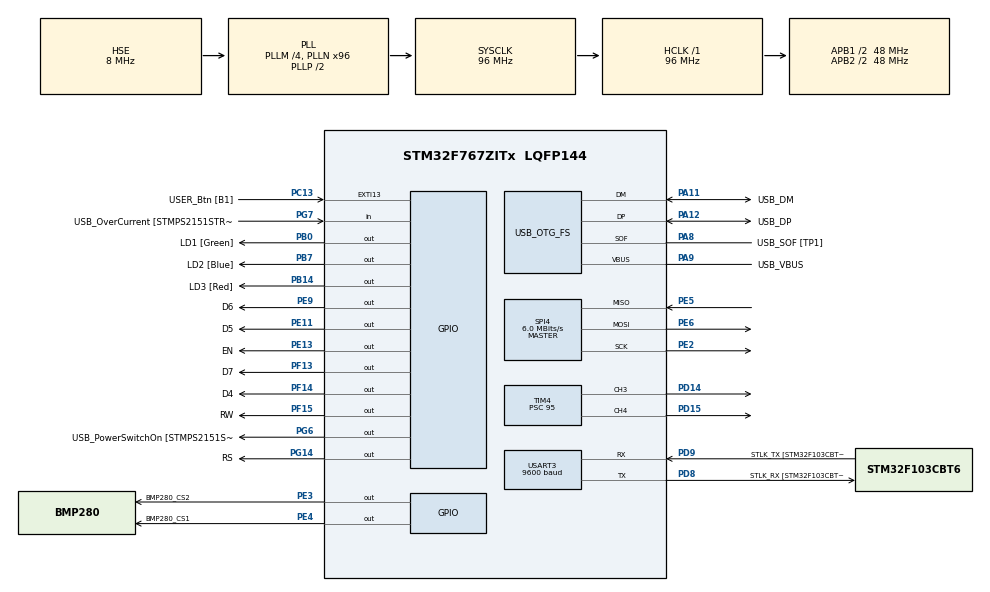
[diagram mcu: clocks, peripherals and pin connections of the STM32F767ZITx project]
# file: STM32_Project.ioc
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ARM.CMSIS.5.7.0.CMSISJjCORE=true
ARM.CMSIS.5.7.0.CMSISJjDSP=Library
Mcu.Family=STM32F7
Mcu.Name=STM32F767ZITx
Mcu.Package=LQFP144
NVIC.PriorityGroup=NVIC_PRIORITYGROUP_4
NVIC.USART3_IRQn=true\:0\:0\:false\:false\:true\:true\:true
PA10.GPIO_Label=USB_ID
PA10.Signal=USB_OTG_FS_ID
PA11.GPIO_Label=USB_DM
PA11.Mode=Device_Only
PA11.Signal=USB_OTG_FS_DM
PA12.GPIO_Label=USB_DP
PA12.Mode=Device_Only
PA12.Signal=USB_OTG_FS_DP
PA13.GPIO_Label=TMS
PA13.Mode=Serial_Wire
PA13.Signal=SYS_JTMS-SWDIO
PA14.GPIO_Label=TCK
PA14.Mode=Serial_Wire
PA14.Signal=SYS_JTCK-SWCLK
PA8.GPIO_Label=USB_SOF [TP1]
PA8.Mode=Activate_SOF_FS
PA8.Signal=USB_OTG_FS_SOF
PA9.GPIO_Label=USB_VBUS
PA9.Mode=Activate_VBUS
PA9.Signal=USB_OTG_FS_VBUS
PB0.GPIO_Label=LD1 [Green]
PB0.Signal=GPIO_Output
PB13.GPIO_Label=RMII_TXD1 [LAN8742A-CZ-TR_TXD1]
PB13.Signal=ETH_TXD1
PB14.GPIO_Label=LD3 [Red]
PB14.Signal=GPIO_Output
PB3.GPIO_Label=SWO
PB3.Signal=SYS_JTDO-SWO
PB7.GPIO_Label=LD2 [Blue]
PB7.Signal=GPIO_Output
PC1.GPIO_Label=RMII_MDC [LAN8742A-CZ-TR_MDC]
PC1.Signal=ETH_MDC
PC13.GPIO_Label=USER_Btn [B1]
PC13.Signal=GPXTI13
PC14/OSC32_IN.Mode=LSE-External-Oscillator
PC14/OSC32_IN.Signal=RCC_OSC32_IN
PC15/OSC32_OUT.Mode=LSE-External-Oscillator
PC15/OSC32_OUT.Signal=RCC_OSC32_OUT
PD14.Signal=S_TIM4_CH3
PD15.Signal=S_TIM4_CH4
PD8.GPIO_Label=STLK_RX [STM32F103CBT6_PA3]
PD8.Mode=Asynchronous
PD8.Signal=USART3_TX
PD9.GPIO_Label=STLK_TX [STM32F103CBT6_PA2]
PD9.Mode=Asynchronous
PD9.Signal=USART3_RX
PE11.GPIO_Label=D5
PE11.Signal=GPIO_Output
PE13.GPIO_Label=EN
PE13.Signal=GPIO_Output
PE2.Mode=Full_Duplex_Master
PE2.Signal=SPI4_SCK
PE3.GPIO_Label=BMP280_CS2
PE3.Signal=GPIO_Output
PE4.GPIO_Label=BMP280_CS1
PE4.Signal=GPIO_Output
PE5.Mode=Full_Duplex_Master
PE5.Signal=SPI4_MISO
PE6.Mode=Full_Duplex_Master
PE6.Signal=SPI4_MOSI
PE9.GPIO_Label=D6
PE9.Signal=GPIO_Output
PF13.GPIO_Label=D7
PF13.Signal=GPIO_Output
PF14.GPIO_Label=D4
PF14.GPIO_Speed=GPIO_SPEED_FREQ_MEDIUM
PF14.Signal=GPIO_Output
PF15.GPIO_Label=RW
PF15.Signal=GPIO_Output
PG11.GPIO_Label=RMII_TX_EN [LAN8742A-CZ-TR_TXEN]
PG11.Signal=ETH_TX_EN
PG13.GPIO_Label=RMII_TXD0 [LAN8742A-CZ-TR_TXD0]
PG13.Signal=ETH_TXD0
PG14.GPIO_Label=RS
PG14.Signal=GPIO_Output
PG6.GPIO_Label=USB_PowerSwitchOn [STMPS2151STR_EN]
PG6.Signal=GPIO_Output
PG7.GPIO_Label=USB_OverCurrent [STMPS2151STR_FAULT]
PG7.Signal=GPIO_Input
PH0/OSC_IN.GPIO_Label=MCO [STM32F103CBT6_PA8]
PH0/OSC_IN.Mode=HSE-External-Clock-Source
PH0/OSC_IN.Signal=RCC_OSC_IN
PH1/OSC_OUT.Mode=HSE-External-Clock-Source
PH1/OSC_OUT.Signal=RCC_OSC_OUT
ProjectManager.HeapSize=0x200
ProjectManager.StackSize=0x400
ProjectManager.TargetToolchain=STM32CubeIDE
RCC.48MHZClocksFreq_Value=24000000
RCC.AHBFreq_Value=96000000
RCC.APB1CLKDivider=RCC_HCLK_DIV2
RCC.APB1Freq_Value=48000000
RCC.APB1TimFreq_Value=96000000
RCC.APB2CLKDivider=RCC_HCLK_DIV2
RCC.APB2Freq_Value=48000000
RCC.APB2TimFreq_Value=96000000
RCC.CortexFreq_Value=96000000
RCC.HCLKFreq_Value=96000000
RCC.HSE_VALUE=8000000
RCC.HSI_VALUE=16000000
RCC.PLLM=4
RCC.PLLMUL=RCC_PLL_MUL9
RCC.PLLN=96
RCC.PLLQ=4
RCC.PRESCALERUSB=RCC_USBCLKSOURCE_PLL_DIV1_5
RCC.SYSCLKFreq_VALUE=96000000
RCC.SYSCLKSource=RCC_SYSCLKSOURCE_PLLCLK
RCC.SYSCLKSourceVirtual=RCC_SYSCLKSOURCE_PLLCLK
RCC.USBFreq_Value=48000000
RCC.VCOOutputFreq_Value=192000000
SH.S_TIM4_CH3.0=TIM4_CH3,PWM Generation3 CH3
SH.S_TIM4_CH4.0=TIM4_CH4,PWM Generation4 CH4
SPI4.BaudRatePrescaler=SPI_BAUDRATEPRESCALER_8
SPI4.CLKPhase=SPI_PHASE_2EDGE
SPI4.CLKPolarity=SPI_POLARITY_HIGH
SPI4.CalculateBaudRate=6.0 MBits/s
SPI4.DataSize=SPI_DATASIZE_8BIT
SPI4.Direction=SPI_DIRECTION_2LINES
SPI4.Mode=SPI_MODE_MASTER
SPI4.VirtualType=VM_MASTER
TIM3.Period=65534
TIM3.Prescaler=95
TIM4.Channel-PWM\ Generation3\ CH3=TIM_CHANNEL_3
TIM4.Channel-PWM\ Generation4\ CH4=TIM_CHANNEL_4
TIM4.OCPolarity_3=TIM_OCPOLARITY_LOW
TIM4.Period=999
TIM4.Prescaler=95
TIM4.Pulse-PWM\ Generation3\ CH3=500
USART3.BaudRate=9600
USART3.VirtualMode-Asynchronous=VM_ASYNC
USB_OTG_FS.VirtualMode=Device_Only
VP_ARM.CMSIS_VS_CMSISJjCORE_5.4.0_5.7.0.Mode=CMSISJjCORE
VP_ARM.CMSIS_VS_CMSISJjDSP_1.8.0_5.7.0.Mode=CMSISJjDSP
VP_TIM3_VS_ClockSourceINT.Mode=Internal
VP_TIM4_VS_ClockSourceINT.Mode=Internal
board=NUCLEO-F767ZI

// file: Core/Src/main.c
/* USER CODE BEGIN Header */
/**
  ******************************************************************************
  * @file           : main.c
  * @brief          : Main program body
  ******************************************************************************
  * @attention
  *
  * <h2><center>&copy; Copyright (c) 2022 STMicroelectronics.
  * All rights reserved.</center></h2>
  *
  * This software component is licensed by ST under BSD 3-Clause license,
  * the "License"; You may not use this file except in compliance with the
  * License. You may obtain a copy of the License at:
  *                        opensource.org/licenses/BSD-3-Clause
  *
  ******************************************************************************
  */
/* USER CODE END Header */
#include "main.h"

/* USER CODE BEGIN Includes */
#include "LCD1602.h"
#include "bmp2_config.h"
#include "bmp280_config.h"
#include <math.h>
#include "arm_math.h"
#include "math_helper.h"
#include "common.h"
/* USER CODE END Includes */

SPI_HandleTypeDef hspi4;

TIM_HandleTypeDef htim3;
TIM_HandleTypeDef htim4;

UART_HandleTypeDef huart3;

PCD_HandleTypeDef hpcd_USB_OTG_FS;

/* USER CODE BEGIN PV */
int row =0;
int col=0;
float stemp=25.0;
float prev_stemp =0;
char buffer[17];

char buffer1[17];
float a_temp[3] = {25.76, 24.75,32.67};
float printed;
int i=0;
float temp;
int diff_index=0;
int n;
char data_msg[32];

float32_t control_signal =0;
float32_t lin_con_sig =0;
float32_t diff_temp=0;

void Steering__temp (float duty_cycle){
	if (duty_cycle >=0){
		if (duty_cycle >60){
			duty_cycle = 60;
		}
		if (duty_cycle <0){
					duty_cycle = 0;
				}

		__HAL_TIM_SET_COMPARE(&htim4, TIM_CHANNEL_3, duty_cycle*10.0);
	}
}

void Steering_fan (int duty_cycle){
	__HAL_TIM_SET_COMPARE(&htim4, TIM_CHANNEL_4, duty_cycle*10);
}

char received_message[5]="";
void HAL_UART_RxCpltCallback (UART_HandleTypeDef * huart)
{

HAL_UART_Receive_IT(&huart3, (uint8_t*)received_message, 5);
sscanf(received_message, "%f", &stemp);

}

/* USER CODE END PV */

void SystemClock_Config(void);
static void MX_GPIO_Init(void);
static void MX_USART3_UART_Init(void);
static void MX_USB_OTG_FS_PCD_Init(void);
static void MX_TIM3_Init(void);
static void MX_SPI4_Init(void);
static void MX_TIM4_Init(void);

int main(void)
{
  /* USER CODE BEGIN 1 */

	arm_pid_instance_f32 myp_PID;

	myp_PID.Kp = 200;  //100
	myp_PID.Ki =0.5; //10
	myp_PID.Kd = 00.00000000000000000000000001; //0.01
	arm_pid_init_f32(&myp_PID, 1);
  /* USER CODE END 1 */

  /* MCU Configuration--------------------------------------------------------*/

  /* Reset of all peripherals, Initializes the Flash interface and the Systick. */
  HAL_Init();

  /* Configure the system clock */
  SystemClock_Config();

  /* Initialize all configured peripherals */
  MX_GPIO_Init();
  MX_USART3_UART_Init();
  MX_USB_OTG_FS_PCD_Init();
  MX_TIM3_Init();
  MX_SPI4_Init();
  MX_TIM4_Init();
  /* USER CODE BEGIN 2 */
  HAL_TIM_Base_Start(&htim3);
  HAL_TIM_Base_Start(&htim4);
  Lcd_init();

  BMP2_Init(&hbmp2_1);

  HAL_UART_Receive_IT(&huart3, (uint8_t*)received_message, 5);

  HAL_TIM_PWM_Start(&htim4,TIM_CHANNEL_3);
  HAL_TIM_PWM_Start(&htim4,TIM_CHANNEL_4);

  /* USER CODE END 2 */

  /* Infinite loop */
  /* USER CODE BEGIN WHILE */
  while (1)
  {

	  temp =  BMP2_ReadTemperature_degC(&hbmp2_1);
	  char data_msg[32];
	  n = sprintf(data_msg, "Temp: %4.02f \r\n", (float)temp);
	  HAL_UART_Transmit(&huart3, (uint8_t*)data_msg, n, 0xffff);

	  Lcd_clear();
	  Lcd_put_cur(0, 0);

	  sprintf (buffer,"Set temp = %4.02f", stemp);
	  Lcd_send_string(buffer);

	  Lcd_put_cur(1, 0);

	  //PID

	  diff_temp = stemp-temp;

	  if(diff_temp<-0.15){
		  Steering_fan(100);
	  }

	  if(diff_temp>-0.15){
	  	  		  Steering_fan(0);
	  	  	  }

	  control_signal = 2000 +arm_pid_f32(&myp_PID, diff_temp);

	  lin_con_sig = LINEAR_TRANSFORM(control_signal,0,5000,0,60);

		  Steering__temp(lin_con_sig);

	  sprintf (buffer1,"Act temp = %4.02f", (float)temp);
	  i++;
	  if (i >2){
		  i =0;
	  }

	  Lcd_send_string(buffer1);
	  HAL_Delay(400);

    /* USER CODE END WHILE */

  }
}

void SystemClock_Config(void)
{
  RCC_OscInitTypeDef RCC_OscInitStruct = {0};
  RCC_ClkInitTypeDef RCC_ClkInitStruct = {0};
  RCC_PeriphCLKInitTypeDef PeriphClkInitStruct = {0};

  /** Configure LSE Drive Capability
  */
  HAL_PWR_EnableBkUpAccess();
  /** Configure the main internal regulator output voltage
  */
  __HAL_RCC_PWR_CLK_ENABLE();
  __HAL_PWR_VOLTAGESCALING_CONFIG(PWR_REGULATOR_VOLTAGE_SCALE3);
  /** Initializes the RCC Oscillators according to the specified parameters
  * in the RCC_OscInitTypeDef structure.
  */
  RCC_OscInitStruct.OscillatorType = RCC_OSCILLATORTYPE_HSE;
  RCC_OscInitStruct.HSEState = RCC_HSE_BYPASS;
  RCC_OscInitStruct.PLL.PLLState = RCC_PLL_ON;
  RCC_OscInitStruct.PLL.PLLSource = RCC_PLLSOURCE_HSE;
  RCC_OscInitStruct.PLL.PLLM = 4;
  RCC_OscInitStruct.PLL.PLLN = 96;
  RCC_OscInitStruct.PLL.PLLP = RCC_PLLP_DIV2;
  RCC_OscInitStruct.PLL.PLLQ = 4;
  RCC_OscInitStruct.PLL.PLLR = 2;
  if (HAL_RCC_OscConfig(&RCC_OscInitStruct) != HAL_OK)
  {
    Error_Handler();
  }
  /** Activate the Over-Drive mode
  */
  if (HAL_PWREx_EnableOverDrive() != HAL_OK)
  {
    Error_Handler();
  }
  /** Initializes the CPU, AHB and APB buses clocks
  */
  RCC_ClkInitStruct.ClockType = RCC_CLOCKTYPE_HCLK|RCC_CLOCKTYPE_SYSCLK
                              |RCC_CLOCKTYPE_PCLK1|RCC_CLOCKTYPE_PCLK2;
  RCC_ClkInitStruct.SYSCLKSource = RCC_SYSCLKSOURCE_PLLCLK;
  RCC_ClkInitStruct.AHBCLKDivider = RCC_SYSCLK_DIV1;
  RCC_ClkInitStruct.APB1CLKDivider = RCC_HCLK_DIV2;
  RCC_ClkInitStruct.APB2CLKDivider = RCC_HCLK_DIV2;

  if (HAL_RCC_ClockConfig(&RCC_ClkInitStruct, FLASH_LATENCY_3) != HAL_OK)
  {
    Error_Handler();
  }
  PeriphClkInitStruct.PeriphClockSelection = RCC_PERIPHCLK_USART3|RCC_PERIPHCLK_CLK48;
  PeriphClkInitStruct.Usart3ClockSelection = RCC_USART3CLKSOURCE_PCLK1;
  PeriphClkInitStruct.Clk48ClockSelection = RCC_CLK48SOURCE_PLL;
  if (HAL_RCCEx_PeriphCLKConfig(&PeriphClkInitStruct) != HAL_OK)
  {
    Error_Handler();
  }
}

static void MX_SPI4_Init(void)
{

  /* SPI4 parameter configuration*/
  hspi4.Instance = SPI4;
  hspi4.Init.Mode = SPI_MODE_MASTER;
  hspi4.Init.Direction = SPI_DIRECTION_2LINES;
  hspi4.Init.DataSize = SPI_DATASIZE_8BIT;
  hspi4.Init.CLKPolarity = SPI_POLARITY_HIGH;
  hspi4.Init.CLKPhase = SPI_PHASE_2EDGE;
  hspi4.Init.NSS = SPI_NSS_SOFT;
  hspi4.Init.BaudRatePrescaler = SPI_BAUDRATEPRESCALER_8;
  hspi4.Init.FirstBit = SPI_FIRSTBIT_MSB;
  hspi4.Init.TIMode = SPI_TIMODE_DISABLE;
  hspi4.Init.CRCCalculation = SPI_CRCCALCULATION_DISABLE;
  hspi4.Init.CRCPolynomial = 7;
  hspi4.Init.CRCLength = SPI_CRC_LENGTH_DATASIZE;
  hspi4.Init.NSSPMode = SPI_NSS_PULSE_DISABLE;
  if (HAL_SPI_Init(&hspi4) != HAL_OK)
  {
    Error_Handler();
  }

}

static void MX_TIM3_Init(void)
{

  TIM_ClockConfigTypeDef sClockSourceConfig = {0};
  TIM_MasterConfigTypeDef sMasterConfig = {0};

  htim3.Instance = TIM3;
  htim3.Init.Prescaler = 95;
  htim3.Init.CounterMode = TIM_COUNTERMODE_UP;
  htim3.Init.Period = 65534;
  htim3.Init.ClockDivision = TIM_CLOCKDIVISION_DIV1;
  htim3.Init.AutoReloadPreload = TIM_AUTORELOAD_PRELOAD_DISABLE;
  if (HAL_TIM_Base_Init(&htim3) != HAL_OK)
  {
    Error_Handler();
  }
  sClockSourceConfig.ClockSource = TIM_CLOCKSOURCE_INTERNAL;
  if (HAL_TIM_ConfigClockSource(&htim3, &sClockSourceConfig) != HAL_OK)
  {
    Error_Handler();
  }
  sMasterConfig.MasterOutputTrigger = TIM_TRGO_RESET;
  sMasterConfig.MasterSlaveMode = TIM_MASTERSLAVEMODE_DISABLE;
  if (HAL_TIMEx_MasterConfigSynchronization(&htim3, &sMasterConfig) != HAL_OK)
  {
    Error_Handler();
  }

}

static void MX_TIM4_Init(void)
{

  TIM_ClockConfigTypeDef sClockSourceConfig = {0};
  TIM_MasterConfigTypeDef sMasterConfig = {0};
  TIM_OC_InitTypeDef sConfigOC = {0};

  htim4.Instance = TIM4;
  htim4.Init.Prescaler = 95;
  htim4.Init.CounterMode = TIM_COUNTERMODE_UP;
  htim4.Init.Period = 999;
  htim4.Init.ClockDivision = TIM_CLOCKDIVISION_DIV1;
  htim4.Init.AutoReloadPreload = TIM_AUTORELOAD_PRELOAD_DISABLE;
  if (HAL_TIM_Base_Init(&htim4) != HAL_OK)
  {
    Error_Handler();
  }
  sClockSourceConfig.ClockSource = TIM_CLOCKSOURCE_INTERNAL;
  if (HAL_TIM_ConfigClockSource(&htim4, &sClockSourceConfig) != HAL_OK)
  {
    Error_Handler();
  }
  if (HAL_TIM_PWM_Init(&htim4) != HAL_OK)
  {
    Error_Handler();
  }
  sMasterConfig.MasterOutputTrigger = TIM_TRGO_RESET;
  sMasterConfig.MasterSlaveMode = TIM_MASTERSLAVEMODE_DISABLE;
  if (HAL_TIMEx_MasterConfigSynchronization(&htim4, &sMasterConfig) != HAL_OK)
  {
    Error_Handler();
  }
  sConfigOC.OCMode = TIM_OCMODE_PWM1;
  sConfigOC.Pulse = 500;
  sConfigOC.OCPolarity = TIM_OCPOLARITY_LOW;
  sConfigOC.OCFastMode = TIM_OCFAST_DISABLE;
  if (HAL_TIM_PWM_ConfigChannel(&htim4, &sConfigOC, TIM_CHANNEL_3) != HAL_OK)
  {
    Error_Handler();
  }
  sConfigOC.Pulse = 0;
  sConfigOC.OCPolarity = TIM_OCPOLARITY_HIGH;
  if (HAL_TIM_PWM_ConfigChannel(&htim4, &sConfigOC, TIM_CHANNEL_4) != HAL_OK)
  {
    Error_Handler();
  }
  HAL_TIM_MspPostInit(&htim4);

}

static void MX_USART3_UART_Init(void)
{

  huart3.Instance = USART3;
  huart3.Init.BaudRate = 9600;
  huart3.Init.WordLength = UART_WORDLENGTH_8B;
  huart3.Init.StopBits = UART_STOPBITS_1;
  huart3.Init.Parity = UART_PARITY_NONE;
  huart3.Init.Mode = UART_MODE_TX_RX;
  huart3.Init.HwFlowCtl = UART_HWCONTROL_NONE;
  huart3.Init.OverSampling = UART_OVERSAMPLING_16;
  huart3.Init.OneBitSampling = UART_ONE_BIT_SAMPLE_DISABLE;
  huart3.AdvancedInit.AdvFeatureInit = UART_ADVFEATURE_NO_INIT;
  if (HAL_UART_Init(&huart3) != HAL_OK)
  {
    Error_Handler();
  }

}

static void MX_USB_OTG_FS_PCD_Init(void)
{

  hpcd_USB_OTG_FS.Instance = USB_OTG_FS;
  hpcd_USB_OTG_FS.Init.dev_endpoints = 6;
  hpcd_USB_OTG_FS.Init.speed = PCD_SPEED_FULL;
  hpcd_USB_OTG_FS.Init.dma_enable = DISABLE;
  hpcd_USB_OTG_FS.Init.phy_itface = PCD_PHY_EMBEDDED;
  hpcd_USB_OTG_FS.Init.Sof_enable = ENABLE;
  hpcd_USB_OTG_FS.Init.low_power_enable = DISABLE;
  hpcd_USB_OTG_FS.Init.lpm_enable = DISABLE;
  hpcd_USB_OTG_FS.Init.vbus_sensing_enable = ENABLE;
  hpcd_USB_OTG_FS.Init.use_dedicated_ep1 = DISABLE;
  if (HAL_PCD_Init(&hpcd_USB_OTG_FS) != HAL_OK)
  {
    Error_Handler();
  }

}

static void MX_GPIO_Init(void)
{
  GPIO_InitTypeDef GPIO_InitStruct = {0};

  /* GPIO Ports Clock Enable */
  __HAL_RCC_GPIOE_CLK_ENABLE();
  __HAL_RCC_GPIOC_CLK_ENABLE();
  __HAL_RCC_GPIOH_CLK_ENABLE();
  __HAL_RCC_GPIOB_CLK_ENABLE();
  __HAL_RCC_GPIOF_CLK_ENABLE();
  __HAL_RCC_GPIOD_CLK_ENABLE();
  __HAL_RCC_GPIOG_CLK_ENABLE();
  __HAL_RCC_GPIOA_CLK_ENABLE();

  /*Configure GPIO pin Output Level */
  HAL_GPIO_WritePin(GPIOE, BMP280_CS2_Pin|BMP280_CS1_Pin|D6_Pin|D5_Pin
                          |EN_Pin, GPIO_PIN_RESET);

  /*Configure GPIO pin Output Level */
  HAL_GPIO_WritePin(GPIOB, LD1_Pin|LD3_Pin|LD2_Pin, GPIO_PIN_RESET);

  /*Configure GPIO pin Output Level */
  HAL_GPIO_WritePin(GPIOF, D7_Pin|D4_Pin|RW_Pin, GPIO_PIN_RESET);

  /*Configure GPIO pin Output Level */
  HAL_GPIO_WritePin(GPIOG, USB_PowerSwitchOn_Pin|RS_Pin, GPIO_PIN_RESET);

  /*Configure GPIO pins : BMP280_CS2_Pin BMP280_CS1_Pin D6_Pin D5_Pin
                           EN_Pin */
  GPIO_InitStruct.Pin = BMP280_CS2_Pin|BMP280_CS1_Pin|D6_Pin|D5_Pin
                          |EN_Pin;
  GPIO_InitStruct.Mode = GPIO_MODE_OUTPUT_PP;
  GPIO_InitStruct.Pull = GPIO_NOPULL;
  GPIO_InitStruct.Speed = GPIO_SPEED_FREQ_LOW;
  HAL_GPIO_Init(GPIOE, &GPIO_InitStruct);

  /*Configure GPIO pin : USER_Btn_Pin */
  GPIO_InitStruct.Pin = USER_Btn_Pin;
  GPIO_InitStruct.Mode = GPIO_MODE_IT_RISING;
  GPIO_InitStruct.Pull = GPIO_NOPULL;
  HAL_GPIO_Init(USER_Btn_GPIO_Port, &GPIO_InitStruct);

  /*Configure GPIO pin : RMII_MDC_Pin */
  GPIO_InitStruct.Pin = RMII_MDC_Pin;
  GPIO_InitStruct.Mode = GPIO_MODE_AF_PP;
  GPIO_InitStruct.Pull = GPIO_NOPULL;
  GPIO_InitStruct.Speed = GPIO_SPEED_FREQ_VERY_HIGH;
  GPIO_InitStruct.Alternate = GPIO_AF11_ETH;
  HAL_GPIO_Init(RMII_MDC_GPIO_Port, &GPIO_InitStruct);

  /*Configure GPIO pins : LD1_Pin LD3_Pin LD2_Pin */
  GPIO_InitStruct.Pin = LD1_Pin|LD3_Pin|LD2_Pin;
  GPIO_InitStruct.Mode = GPIO_MODE_OUTPUT_PP;
  GPIO_InitStruct.Pull = GPIO_NOPULL;
  GPIO_InitStruct.Speed = GPIO_SPEED_FREQ_LOW;
  HAL_GPIO_Init(GPIOB, &GPIO_InitStruct);

  /*Configure GPIO pins : D7_Pin RW_Pin */
  GPIO_InitStruct.Pin = D7_Pin|RW_Pin;
  GPIO_InitStruct.Mode = GPIO_MODE_OUTPUT_PP;
  GPIO_InitStruct.Pull = GPIO_NOPULL;
  GPIO_InitStruct.Speed = GPIO_SPEED_FREQ_LOW;
  HAL_GPIO_Init(GPIOF, &GPIO_InitStruct);

  /*Configure GPIO pin : D4_Pin */
  GPIO_InitStruct.Pin = D4_Pin;
  GPIO_InitStruct.Mode = GPIO_MODE_OUTPUT_PP;
  GPIO_InitStruct.Pull = GPIO_NOPULL;
  GPIO_InitStruct.Speed = GPIO_SPEED_FREQ_MEDIUM;
  HAL_GPIO_Init(D4_GPIO_Port, &GPIO_InitStruct);

  /*Configure GPIO pin : RMII_TXD1_Pin */
  GPIO_InitStruct.Pin = RMII_TXD1_Pin;
  GPIO_InitStruct.Mode = GPIO_MODE_AF_PP;
  GPIO_InitStruct.Pull = GPIO_NOPULL;
  GPIO_InitStruct.Speed = GPIO_SPEED_FREQ_VERY_HIGH;
  GPIO_InitStruct.Alternate = GPIO_AF11_ETH;
  HAL_GPIO_Init(RMII_TXD1_GPIO_Port, &GPIO_InitStruct);

  /*Configure GPIO pins : USB_PowerSwitchOn_Pin RS_Pin */
  GPIO_InitStruct.Pin = USB_PowerSwitchOn_Pin|RS_Pin;
  GPIO_InitStruct.Mode = GPIO_MODE_OUTPUT_PP;
  GPIO_InitStruct.Pull = GPIO_NOPULL;
  GPIO_InitStruct.Speed = GPIO_SPEED_FREQ_LOW;
  HAL_GPIO_Init(GPIOG, &GPIO_InitStruct);

  /*Configure GPIO pin : USB_OverCurrent_Pin */
  GPIO_InitStruct.Pin = USB_OverCurrent_Pin;
  GPIO_InitStruct.Mode = GPIO_MODE_INPUT;
  GPIO_InitStruct.Pull = GPIO_NOPULL;
  HAL_GPIO_Init(USB_OverCurrent_GPIO_Port, &GPIO_InitStruct);

  /*Configure GPIO pins : RMII_TX_EN_Pin RMII_TXD0_Pin */
  GPIO_InitStruct.Pin = RMII_TX_EN_Pin|RMII_TXD0_Pin;
  GPIO_InitStruct.Mode = GPIO_MODE_AF_PP;
  GPIO_InitStruct.Pull = GPIO_NOPULL;
  GPIO_InitStruct.Speed = GPIO_SPEED_FREQ_VERY_HIGH;
  GPIO_InitStruct.Alternate = GPIO_AF11_ETH;
  HAL_GPIO_Init(GPIOG, &GPIO_InitStruct);

}

void Error_Handler(void)
{
  __disable_irq();
  while (1)
  {
  }
}

/************************ (C) COPYRIGHT STMicroelectronics *****END OF FILE****/
